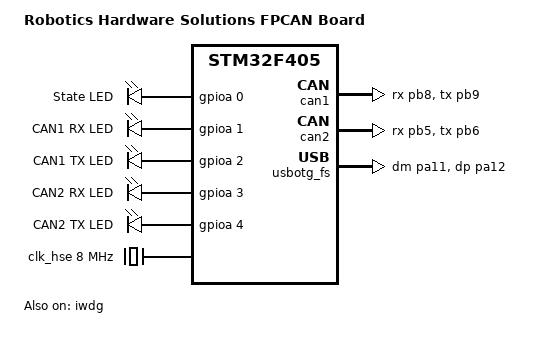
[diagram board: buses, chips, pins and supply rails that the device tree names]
/*
 * Copyright (c) 2025 Sergey Golovin <golovinengineer@icloud.com>
 *
 * SPDX-License-Identifier: Apache-2.0
 */

/dts-v1/;
#include <st/f4/stm32f405Xg.dtsi>
#include <st/f4/stm32f405rgtx-pinctrl.dtsi>
#include <zephyr/dt-bindings/input/input-event-codes.h>

/ {
	model = "Robotics Hardware Solutions FPCAN Board";
	compatible = "rhs,fpcan", "st,stm32f405";

	chosen {
		zephyr,console = &zephyr_udc0;
		zephyr,shell = &zephyr_udc0;
		zephyr,sram = &sram0;
		zephyr,flash = &flash0;
		zephyr,ccm = &ccm0;
		zephyr,canbus = &can1;
		zephyr,code-partition = &slot0_partition;
	};

	leds {
		compatible = "gpio-leds";

		state_led: state_led {
			gpios = <&gpioa 0 GPIO_ACTIVE_HIGH>;
			label = "State LED";
		};

		rx1_led: rx1_led {
			gpios = <&gpioa 1 GPIO_ACTIVE_HIGH>;
			label = "CAN1 RX LED";
		};

		tx1_led: tx1_led {
			gpios = <&gpioa 2 GPIO_ACTIVE_HIGH>;
			label = "CAN1 TX LED";
		};

		rx2_led: rx2_led {
			gpios = <&gpioa 3 GPIO_ACTIVE_HIGH>;
			label = "CAN2 RX LED";
		};

		tx2_led: tx2_led {
			gpios = <&gpioa 4 GPIO_ACTIVE_HIGH>;
			label = "CAN2 TX LED";
		};
	};


	aliases {
		led0 = &state_led;
		led1 = &rx1_led;
		led2 = &tx1_led;
		led4 = &rx2_led;
		watchdog0 = &iwdg;
		sdhc0 = &sdmmc1;
	};
};

&clk_lsi {
	status = "okay";
};

&clk_hse {
	clock-frequency = <DT_FREQ_M(8)>;
	status = "okay";
};

&pll {
	div-m = <4>;
	mul-n = <168>;
	div-p = <2>;
	div-q = <7>;
	clocks = <&clk_hse>;
	status = "okay";
};

&rcc {
	clocks = <&pll>;
	clock-frequency = <DT_FREQ_M(168)>;
	ahb-prescaler = <1>;
	apb1-prescaler = <4>;
	apb2-prescaler = <2>;
};

&can1 {
	pinctrl-0 = <&can1_rx_pb8 &can1_tx_pb9>;
	pinctrl-names = "default";
	status = "okay";
};

&can2 {
	pinctrl-0 = <&can2_rx_pb5 &can2_tx_pb6>;
	pinctrl-names = "default";
	status = "okay";
};

zephyr_udc0: &usbotg_fs {
	pinctrl-0 = <&usb_otg_fs_dm_pa11 &usb_otg_fs_dp_pa12>;
	pinctrl-names = "default";
	status = "okay";
};

&iwdg {
	status = "okay";
};

&backup_sram {
	status = "okay";
};



&flash0 {
	partitions {
		compatible = "fixed-partitions";
		#address-cells = <1>;
		#size-cells = <1>;

		boot_partition: partition@0 {
			label = "mcuboot";
			reg = <0x00000000 DT_SIZE_K(128)>;
			read-only;
		};

		slot0_partition: partition@20000 {
			label = "image-0";
			reg = <0x00020000 DT_SIZE_K(384)>;
		};

		slot1_partition: partition@40000 {
			label = "image-1";
			reg = <0x00080000 DT_SIZE_K(384)>;
		};

		scratch_partition: partition@60000 {
			label = "image-scratch";
			reg = <0x000e0000 DT_SIZE_K(128)>;
		};
	};
};

